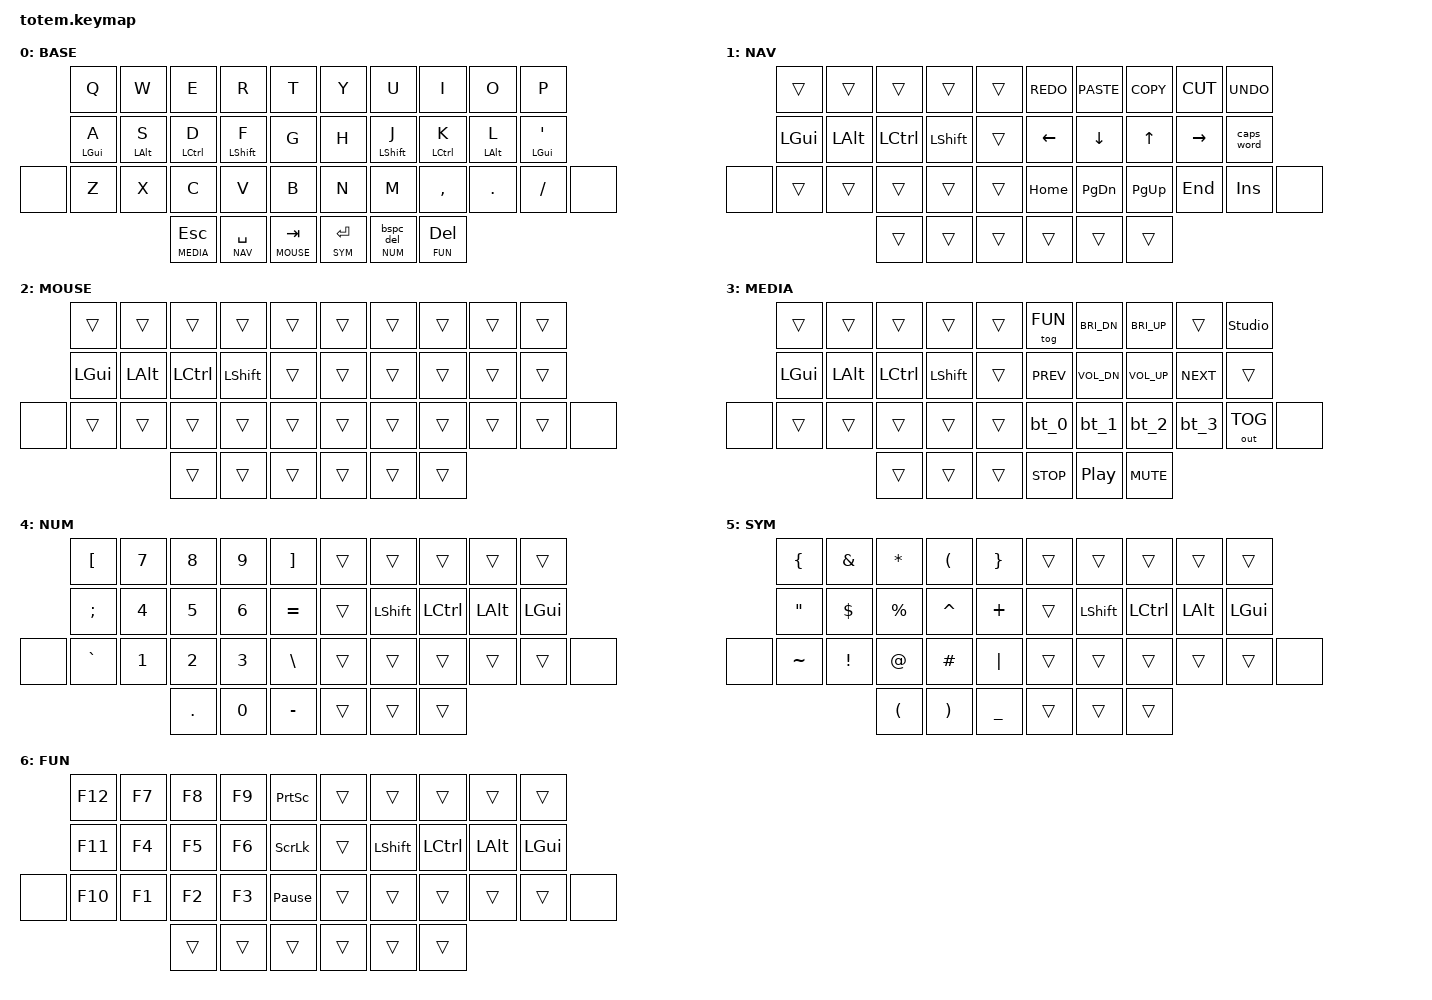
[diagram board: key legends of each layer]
#include <behaviors.dtsi>
#include <dt-bindings/zmk/keys.h>
#include <dt-bindings/zmk/bt.h>
#include <dt-bindings/zmk/outputs.h>

// Define layer numbers for cleaner code
#define BASE  0
#define NAV   1
#define MOUSE 2
#define MEDIA 3
#define NUM   4
#define SYM   5
#define FUN   6

/ {
    macros {
            // Combine shift with bluetooh profile to clear it
            bt_clr_0: bt_clr_0 {
                compatible = "zmk,behavior-macro";
                #binding-cells = <0>;
                wait-ms = <100>; // Wait 100ms between commands
                bindings = <&bt BT_SEL 0>, <&bt BT_CLR>;
            };
            bt_clr_1: bt_clr_1 {
                compatible = "zmk,behavior-macro";
                #binding-cells = <0>;
                wait-ms = <100>;
                bindings = <&bt BT_SEL 1>, <&bt BT_CLR>;
            };
            bt_clr_2: bt_clr_2 {
                compatible = "zmk,behavior-macro";
                #binding-cells = <0>;
                wait-ms = <100>;
                bindings = <&bt BT_SEL 2>, <&bt BT_CLR>;
            };
            bt_clr_3: bt_clr_3 {
                compatible = "zmk,behavior-macro";
                #binding-cells = <0>;
                wait-ms = <100>;
                bindings = <&bt BT_SEL 3>, <&bt BT_CLR>;
            };
        };
    
    behaviors {
        hm: homerow_mods {
            compatible = "zmk,behavior-hold-tap";
            #binding-cells = <2>;
            tapping-term-ms = <200>;
            quick-tap-ms = <175>;
            flavor = "tap-preferred";
            bindings = <&kp>, <&kp>;
        };

        // Mod-Morph: Backspace normally, Delete when Shifted
        bspc_del: backspace_delete {
            compatible = "zmk,behavior-mod-morph";
            #binding-cells = <0>;
            bindings = <&kp BSPC>, <&kp DEL>;
            mods = <(MOD_LSFT|MOD_RSFT)>;
        };

        // Define a custom 0-cell Hold-Tap to wrap the Mod-Morph and the Num layer
        num_bspc: num_layer_bspc_del {
            compatible = "zmk,behavior-hold-tap";
            #binding-cells = <2>;
            flavor = "tap-preferred";
            tapping-term-ms = <200>;
            // Hold activates Layer 4 (NUM), Tap activates Mod-Morph
            bindings = <&mo>, <&bspc_del>; 
        };

        // Combine shift with bluetooh profile to clear it
        bt_0: bt_0_morph {
            compatible = "zmk,behavior-mod-morph";
            #binding-cells = <0>;
            bindings = <&bt BT_SEL 0>, <&bt_clr_0>;
            mods = <(MOD_LSFT|MOD_RSFT)>;
        };
        bt_1: bt_1_morph {
            compatible = "zmk,behavior-mod-morph";
            #binding-cells = <0>;
            bindings = <&bt BT_SEL 1>, <&bt_clr_1>;
            mods = <(MOD_LSFT|MOD_RSFT)>;
        };
        bt_2: bt_2_morph {
            compatible = "zmk,behavior-mod-morph";
            #binding-cells = <0>;
            bindings = <&bt BT_SEL 2>, <&bt_clr_2>;
            mods = <(MOD_LSFT|MOD_RSFT)>;
        };
        bt_3: bt_3_morph {
            compatible = "zmk,behavior-mod-morph";
            #binding-cells = <0>;
            bindings = <&bt BT_SEL 3>, <&bt_clr_3>;
            mods = <(MOD_LSFT|MOD_RSFT)>;
        };
    };

    keymap {
        compatible = "zmk,keymap";

        base_layer {
            display-name = "BASE";
            bindings = <
                   &kp Q      &kp W      &kp E       &kp R       &kp T           &kp Y       &kp U       &kp I       &kp O      &kp P
                   &hm LGUI A &hm LALT S &hm LCTRL D &hm LSHFT F &kp G           &kp H       &hm LSHFT J &hm LCTRL K &hm LALT L &hm LGUI SQT
        &none      &kp Z      &kp X      &kp C       &kp V       &kp B           &kp N       &kp M       &kp COMMA   &kp DOT    &kp FSLH      &none
                                         &lt MEDIA ESC &lt NAV SPACE &lt MOUSE TAB &lt SYM RET &num_bspc NUM 0 &lt FUN DEL
            >;
        };


        nav_layer {
            display-name = "NAV";
            bindings = <
                   &trans     &trans     &trans      &trans      &trans          &kp K_REDO  &kp K_PASTE &kp K_COPY  &kp K_CUT  &kp K_UNDO
                   &kp LGUI   &kp LALT   &kp LCTRL   &kp LSHFT   &trans          &kp LEFT    &kp DOWN    &kp UP      &kp RIGHT  &caps_word
        &none      &trans     &trans     &trans      &trans      &trans          &kp HOME    &kp PG_DN   &kp PG_UP   &kp END    &kp INS     &none
                                         &trans      &trans      &trans          &trans      &trans      &trans
            >;
        };

        mouse_layer {
            // Note: True ZMK mouse movement requires a dedicated PR/Module. 
            // This is laid out for future integration, currently falling back to trans.
            display-name = "MOUSE";
            bindings = <
                   &trans     &trans     &trans      &trans      &trans          &trans      &trans      &trans      &trans     &trans
                   &kp LGUI   &kp LALT   &kp LCTRL   &kp LSHFT   &trans          &trans      &trans      &trans      &trans     &trans
        &none      &trans     &trans     &trans      &trans      &trans          &trans      &trans      &trans      &trans     &trans         &none
                                         &trans      &trans      &trans          &trans      &trans      &trans
            >;
        };

        media_layer {
            display-name = "MEDIA";
            bindings = <
                   &trans     &trans     &trans      &trans      &trans          &tog FUN      &kp C_BRI_DN  &kp C_BRI_UP  &trans       &studio_unlock
                   &kp LGUI   &kp LALT   &kp LCTRL   &kp LSHFT   &trans          &kp C_PREV    &kp C_VOL_DN  &kp C_VOL_UP  &kp C_NEXT   &trans
        &none      &trans     &trans     &trans      &trans      &trans          &bt_0         &bt_1         &bt_2         &bt_3        &out OUT_TOG   &none
                                         &trans      &trans      &trans          &kp C_STOP    &kp C_PLAY_PAUSE &kp C_MUTE
            >;
        };

        num_layer {
            display-name = "NUM";
            bindings = <
                   &kp LBKT   &kp N7     &kp N8      &kp N9      &kp RBKT        &trans      &trans      &trans      &trans     &trans
                   &kp SEMI   &kp N4     &kp N5      &kp N6      &kp EQUAL       &trans      &kp LSHFT   &kp LCTRL   &kp LALT   &kp LGUI
        &none      &kp GRAVE  &kp N1     &kp N2      &kp N3      &kp BSLH        &trans      &trans      &trans      &trans     &trans       &none
                                         &kp DOT     &kp N0      &kp MINUS       &trans      &trans      &trans
            >;
        };

        sym_layer {
            display-name = "SYM";
            bindings = <
                   &kp LBRC   &kp AMPS   &kp ASTRK   &kp LPAR    &kp RBRC        &trans      &trans      &trans      &trans     &trans
                   &kp DQT    &kp DLLR   &kp PRCNT   &kp CARET   &kp PLUS        &trans      &kp LSHFT   &kp LCTRL   &kp LALT   &kp LGUI
        &none      &kp TILDE  &kp EXCL   &kp AT      &kp HASH    &kp PIPE        &trans      &trans      &trans      &trans     &trans       &none
                                         &kp LPAR    &kp RPAR    &kp UNDER       &trans      &trans      &trans
            >;
        };

        fun_layer {
            display-name = "FUN";
            bindings = <
                   &kp F12    &kp F7     &kp F8      &kp F9      &kp PSCRN       &trans      &trans      &trans      &trans     &trans
                   &kp F11    &kp F4     &kp F5      &kp F6      &kp SLCK        &trans      &kp LSHFT   &kp LCTRL   &kp LALT   &kp LGUI
        &none      &kp F10    &kp F1     &kp F2      &kp F3      &kp PAUSE_BREAK &trans      &trans      &trans      &trans     &trans       &none
                                         &trans      &trans      &trans          &trans      &trans      &trans
            >;
        };
    };
};
